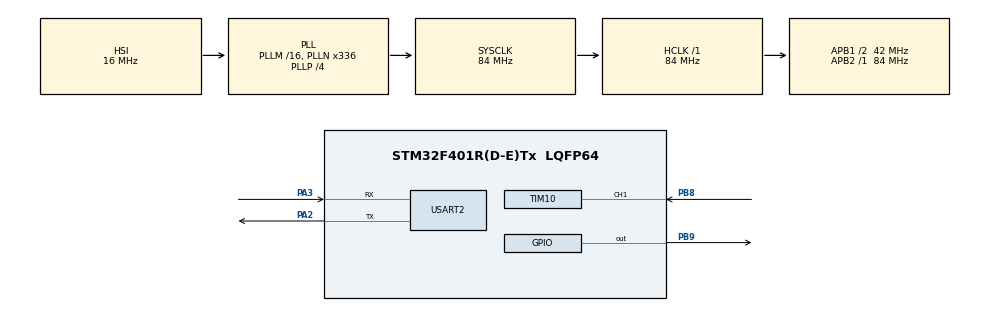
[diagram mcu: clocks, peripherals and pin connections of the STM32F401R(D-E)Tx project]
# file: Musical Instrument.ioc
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Mcu.Family=STM32F4
Mcu.Name=STM32F401R(D-E)Tx
Mcu.Package=LQFP64
NVIC.PriorityGroup=NVIC_PRIORITYGROUP_4
NVIC.TIM1_UP_TIM10_IRQn=true\:0\:0\:false\:false\:true\:true\:true\:true
PA2.Mode=Asynchronous
PA2.Signal=USART2_TX
PA3.Mode=Asynchronous
PA3.Signal=USART2_RX
PB8.Signal=S_TIM10_CH1
PB9.Signal=GPIO_Output
ProjectManager.HeapSize=0x200
ProjectManager.StackSize=0x400
ProjectManager.TargetToolchain=STM32CubeIDE
RCC.48MHZClocksFreq_Value=48000000
RCC.AHBFreq_Value=84000000
RCC.APB1CLKDivider=RCC_HCLK_DIV2
RCC.APB1Freq_Value=42000000
RCC.APB1TimFreq_Value=84000000
RCC.APB2Freq_Value=84000000
RCC.APB2TimFreq_Value=84000000
RCC.CortexFreq_Value=84000000
RCC.HCLKFreq_Value=84000000
RCC.HSE_VALUE=8000000
RCC.HSI_VALUE=16000000
RCC.LSE_VALUE=32768
RCC.PLLN=336
RCC.PLLP=RCC_PLLP_DIV4
RCC.PLLQ=7
RCC.SYSCLKFreq_VALUE=84000000
RCC.SYSCLKSource=RCC_SYSCLKSOURCE_PLLCLK
RCC.VCOOutputFreq_Value=336000000
SH.S_TIM10_CH1.0=TIM10_CH1,Input_Capture1_from_TI1
TIM10.Channel=TIM_CHANNEL_1
TIM10.Prescaler=84-1
USART2.VirtualMode=VM_ASYNC
VP_TIM10_VS_ClockSourceINT.Mode=Enable_Timer
board=NUCLEO-F401RE

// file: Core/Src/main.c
/* USER CODE BEGIN Header */
/**
  ******************************************************************************
  * @file           : main.c
  * @brief          : Main program body
  ******************************************************************************
  * @attention
  *
  * Copyright (c) 2025 STMicroelectronics.
  * All rights reserved.
  *
  * This software is licensed under terms that can be found in the LICENSE file
  * in the root directory of this software component.
  * If no LICENSE file comes with this software, it is provided AS-IS.
  *
  ******************************************************************************
  */
/* USER CODE END Header */
#include "main.h"

/* USER CODE BEGIN PD */
#define TEXT_BUFFER_LENGTH 50
/* USER CODE END PD */

TIM_HandleTypeDef htim10;

UART_HandleTypeDef huart2;

/* USER CODE BEGIN PV */

//--------------------START PIN CONSTANTS--------------------
const uint16_t TRIG_PIN = GPIO_PIN_9; //Port B
const uint16_t ECHO_PIN = GPIO_PIN_8; //Port B
const uint8_t HCSR04_READING_DELAY = 200; //Delay between successive reads of the HC-SR04, milliseconds
const uint8_t UART_PRINT_TIMEOUT = 10;
//---------------------END PIN CONSTANTS---------------------

//---------------START INPUT CAPTURE VARIABLES---------------
uint16_t first_capture_time = 0;
uint16_t second_capture_time = 0;
uint8_t is_second_capture = 0;
uint16_t time_difference = 0;
uint8_t distance = 0;
uint8_t text_buffer[TEXT_BUFFER_LENGTH] = "bean: yogurt\n gurt: yo\n yo: sybau";
/* USER CODE END PV */

void SystemClock_Config(void);
static void MX_GPIO_Init(void);
static void MX_TIM10_Init(void);
static void MX_USART2_UART_Init(void);
/* USER CODE BEGIN PFP */
void microsecond_delay(uint16_t time);
void HAL_TIM_IC_CaptureCallback(TIM_HandleTypeDef* htim);
void echo_callback(TIM_HandleTypeDef* htim);
void trigger_hcsr04(void);
void print_with_uart(const uint8_t str[]);
/* USER CODE END PFP */

/* USER CODE BEGIN 0 */

void microsecond_delay(uint16_t time) {

	__HAL_TIM_SET_COUNTER(&htim10, 0);
	while(__HAL_TIM_GET_COUNTER(&htim10) < time);

}

void HAL_TIM_IC_CaptureCallback(TIM_HandleTypeDef* htim) {

	if(htim == &htim10 && htim->Channel == TIM_CHANNEL_1) {

		echo_callback(htim);

	}

}

void echo_callback(TIM_HandleTypeDef* htim) {

	if(is_second_capture == 0) {

		//Callback for first capture

		first_capture_time = HAL_TIM_ReadCapturedValue(htim, TIM_CHANNEL_1);
		is_second_capture = 1;
		//The second capture will be a fall from high to low.
		__HAL_TIM_SET_CAPTUREPOLARITY(htim, TIM_CHANNEL_1, TIM_INPUTCHANNELPOLARITY_FALLING);

	} else {

		//Callback for second capture

		second_capture_time = HAL_TIM_ReadCapturedValue(htim, TIM_CHANNEL_1);
		is_second_capture = 0;
		__HAL_TIM_SET_COUNTER(htim, 0);

		if(second_capture_time > first_capture_time) {

			time_difference = second_capture_time - first_capture_time;

		} else {

			time_difference = (0xffff - first_capture_time) + second_capture_time;

		}

		distance = time_difference * 0.0343 / 2;

		//The first capture will be a rise from low to high.
		__HAL_TIM_SET_CAPTUREPOLARITY(htim, TIM_CHANNEL_1, TIM_INPUTCHANNELPOLARITY_RISING);

	}

}

void trigger_hcsr04(void) {

	HAL_GPIO_WritePin(GPIOB, TRIG_PIN, GPIO_PIN_SET);
	microsecond_delay(10);
	HAL_GPIO_WritePin(GPIOB, TRIG_PIN, GPIO_PIN_RESET);

}

void print_with_uart(const uint8_t str[]) {

	uint8_t i;
	uint8_t curr;
	for(i = 0; i < TEXT_BUFFER_LENGTH - 1 && str[i] != '\0'; i++) {

		curr = str[i];
		text_buffer[i] = curr;

	}
	text_buffer[i] = '\0';
	HAL_UART_Transmit(&huart2, text_buffer, i + 1, UART_PRINT_TIMEOUT);

}

/* USER CODE END 0 */

int main(void)
{

  /* MCU Configuration--------------------------------------------------------*/

  /* Reset of all peripherals, Initializes the Flash interface and the Systick. */
  HAL_Init();

  /* Configure the system clock */
  SystemClock_Config();

  /* Initialize all configured peripherals */
  MX_GPIO_Init();
  MX_TIM10_Init();
  MX_USART2_UART_Init();

  /* Infinite loop */
  /* USER CODE BEGIN WHILE */
  while (1) {

	  uint8_t goon_str[] = {'g', 'o', 'o', 'n', 'i', 'n', 'g', ' ', 'p', 'a', 'r', 't', ' ', '3', '\r', '\n', '\0'};
	  print_with_uart(goon_str);
	  HAL_Delay(1000);

    /* USER CODE END WHILE */

  }
}

void SystemClock_Config(void)
{
  RCC_OscInitTypeDef RCC_OscInitStruct = {0};
  RCC_ClkInitTypeDef RCC_ClkInitStruct = {0};

  /** Configure the main internal regulator output voltage
  */
  __HAL_RCC_PWR_CLK_ENABLE();
  __HAL_PWR_VOLTAGESCALING_CONFIG(PWR_REGULATOR_VOLTAGE_SCALE2);

  /** Initializes the RCC Oscillators according to the specified parameters
  * in the RCC_OscInitTypeDef structure.
  */
  RCC_OscInitStruct.OscillatorType = RCC_OSCILLATORTYPE_HSI;
  RCC_OscInitStruct.HSIState = RCC_HSI_ON;
  RCC_OscInitStruct.HSICalibrationValue = RCC_HSICALIBRATION_DEFAULT;
  RCC_OscInitStruct.PLL.PLLState = RCC_PLL_ON;
  RCC_OscInitStruct.PLL.PLLSource = RCC_PLLSOURCE_HSI;
  RCC_OscInitStruct.PLL.PLLM = 16;
  RCC_OscInitStruct.PLL.PLLN = 336;
  RCC_OscInitStruct.PLL.PLLP = RCC_PLLP_DIV4;
  RCC_OscInitStruct.PLL.PLLQ = 7;
  if (HAL_RCC_OscConfig(&RCC_OscInitStruct) != HAL_OK)
  {
    Error_Handler();
  }

  /** Initializes the CPU, AHB and APB buses clocks
  */
  RCC_ClkInitStruct.ClockType = RCC_CLOCKTYPE_HCLK|RCC_CLOCKTYPE_SYSCLK
                              |RCC_CLOCKTYPE_PCLK1|RCC_CLOCKTYPE_PCLK2;
  RCC_ClkInitStruct.SYSCLKSource = RCC_SYSCLKSOURCE_PLLCLK;
  RCC_ClkInitStruct.AHBCLKDivider = RCC_SYSCLK_DIV1;
  RCC_ClkInitStruct.APB1CLKDivider = RCC_HCLK_DIV2;
  RCC_ClkInitStruct.APB2CLKDivider = RCC_HCLK_DIV1;

  if (HAL_RCC_ClockConfig(&RCC_ClkInitStruct, FLASH_LATENCY_2) != HAL_OK)
  {
    Error_Handler();
  }
}

static void MX_TIM10_Init(void)
{

  TIM_IC_InitTypeDef sConfigIC = {0};

  htim10.Instance = TIM10;
  htim10.Init.Prescaler = 84-1;
  htim10.Init.CounterMode = TIM_COUNTERMODE_UP;
  htim10.Init.Period = 65535;
  htim10.Init.ClockDivision = TIM_CLOCKDIVISION_DIV1;
  htim10.Init.AutoReloadPreload = TIM_AUTORELOAD_PRELOAD_DISABLE;
  if (HAL_TIM_Base_Init(&htim10) != HAL_OK)
  {
    Error_Handler();
  }
  if (HAL_TIM_IC_Init(&htim10) != HAL_OK)
  {
    Error_Handler();
  }
  sConfigIC.ICPolarity = TIM_INPUTCHANNELPOLARITY_RISING;
  sConfigIC.ICSelection = TIM_ICSELECTION_DIRECTTI;
  sConfigIC.ICPrescaler = TIM_ICPSC_DIV1;
  sConfigIC.ICFilter = 0;
  if (HAL_TIM_IC_ConfigChannel(&htim10, &sConfigIC, TIM_CHANNEL_1) != HAL_OK)
  {
    Error_Handler();
  }

}

static void MX_USART2_UART_Init(void)
{

  huart2.Instance = USART2;
  huart2.Init.BaudRate = 115200;
  huart2.Init.WordLength = UART_WORDLENGTH_8B;
  huart2.Init.StopBits = UART_STOPBITS_1;
  huart2.Init.Parity = UART_PARITY_NONE;
  huart2.Init.Mode = UART_MODE_TX_RX;
  huart2.Init.HwFlowCtl = UART_HWCONTROL_NONE;
  huart2.Init.OverSampling = UART_OVERSAMPLING_16;
  if (HAL_UART_Init(&huart2) != HAL_OK)
  {
    Error_Handler();
  }

}

static void MX_GPIO_Init(void)
{
  GPIO_InitTypeDef GPIO_InitStruct = {0};

  /* GPIO Ports Clock Enable */
  __HAL_RCC_GPIOA_CLK_ENABLE();
  __HAL_RCC_GPIOB_CLK_ENABLE();

  /*Configure GPIO pin Output Level */
  HAL_GPIO_WritePin(GPIOB, GPIO_PIN_9, GPIO_PIN_RESET);

  /*Configure GPIO pin : PB9 */
  GPIO_InitStruct.Pin = GPIO_PIN_9;
  GPIO_InitStruct.Mode = GPIO_MODE_OUTPUT_PP;
  GPIO_InitStruct.Pull = GPIO_NOPULL;
  GPIO_InitStruct.Speed = GPIO_SPEED_FREQ_LOW;
  HAL_GPIO_Init(GPIOB, &GPIO_InitStruct);

}

void Error_Handler(void)
{
  __disable_irq();
  while (1)
  {
  }
}
